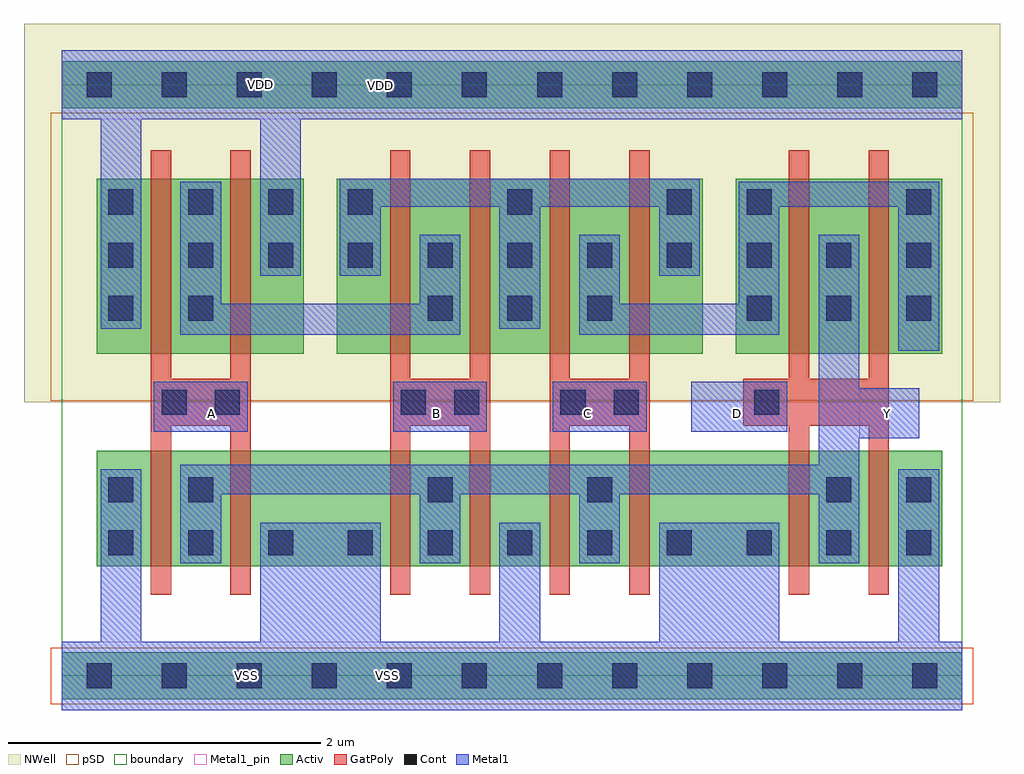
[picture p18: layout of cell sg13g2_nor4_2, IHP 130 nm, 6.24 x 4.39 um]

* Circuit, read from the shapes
.subckt sg13g2_nor4_2 A B C D VDD VSS Y
XM1 Y A VSS VSS sg13_lv_nmos w=0.74u l=0.13u m=2
XM2 Y B VSS VSS sg13_lv_nmos w=0.74u l=0.13u m=2
XM3 Y C VSS VSS sg13_lv_nmos w=0.74u l=0.13u m=2
XM4 Y D VSS VSS sg13_lv_nmos w=0.74u l=0.13u m=2
XM5 n1 A VDD VDD sg13_lv_pmos w=1.12u l=0.13u m=2
XM6 n1 B n2 VDD sg13_lv_pmos w=1.12u l=0.13u m=2
XM7 n3 C n2 VDD sg13_lv_pmos w=1.12u l=0.13u m=2
XM8 Y D n3 VDD sg13_lv_pmos w=1.12u l=0.13u m=2
.ends

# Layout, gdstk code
import gdstk
lib = gdstk.Library(unit=1e-6, precision=1e-09)
def R(c, l, rs):  # rectangles x0, y0, x1, y1
    for r in rs: c.add(gdstk.rectangle(r[:2], r[2:], *l))
def P(c, l, *ps):  # polygons
    for p in ps: c.add(gdstk.Polygon(p, *l))
Activ = (1, 0)
GatPoly = (5, 0)
Cont = (6, 0)
Metal1 = (8, 0)
Metal1_pin = (8, 2)
pSD = (14, 0)
NWell = (31, 0)
boundary = (189, 4)

sg13g2_nor4_2 = lib.new_cell('sg13g2_nor4_2')
R(sg13g2_nor4_2, Activ, [(0,-0.15,5.76,0.15), (0,-0.15,5.76,0.15), (0.225,0.7,5.63,1.44), (0.225,0.7,5.63,1.44), (0.225,2.06,1.55,3.18), (0.225,2.06,1.55,3.18), (1.76,2.06,4.1,3.18), (1.76,2.06,4.1,3.18), (4.31,2.06,5.63,3.18), (4.31,2.06,5.63,3.18), (0,3.63,5.76,3.93), (0,3.63,5.76,3.93)])
P(sg13g2_nor4_2, GatPoly, [(0.57,0.52),(0.57,3.36),(0.7,3.36),(0.7,1.9),(1.08,1.9),(1.08,3.36),(1.21,3.36),(1.21,0.52),(1.08,0.52),(1.08,1.6),(0.7,1.6),(0.7,0.52)],
  [(2.1,0.52),(2.1,3.36),(2.23,3.36),(2.23,1.9),(2.61,1.9),(2.61,3.36),(2.74,3.36),(2.74,0.52),(2.61,0.52),(2.61,1.6),(2.23,1.6),(2.23,0.52)],
  [(3.12,0.52),(3.12,3.36),(3.25,3.36),(3.25,1.9),(3.63,1.9),(3.63,3.36),(3.76,3.36),(3.76,0.52),(3.63,0.52),(3.63,1.6),(3.25,1.6),(3.25,0.52)],
  [(4.65,0.52),(4.65,1.6),(4.36,1.6),(4.36,1.9),(4.65,1.9),(4.65,3.36),(4.78,3.36),(4.78,1.9),(5.16,1.9),(5.16,3.36),(5.29,3.36),(5.29,0.52),(5.16,0.52),(5.16,1.6),(4.78,1.6),(4.78,0.52)],
  [(0.57,0.52),(0.57,3.36),(0.7,3.36),(0.7,1.9),(1.08,1.9),(1.08,3.36),(1.21,3.36),(1.21,0.52),(1.08,0.52),(1.08,1.6),(0.7,1.6),(0.7,0.52)],
  [(2.1,0.52),(2.1,3.36),(2.23,3.36),(2.23,1.9),(2.61,1.9),(2.61,3.36),(2.74,3.36),(2.74,0.52),(2.61,0.52),(2.61,1.6),(2.23,1.6),(2.23,0.52)],
  [(3.12,0.52),(3.12,3.36),(3.25,3.36),(3.25,1.9),(3.63,1.9),(3.63,3.36),(3.76,3.36),(3.76,0.52),(3.63,0.52),(3.63,1.6),(3.25,1.6),(3.25,0.52)],
  [(4.65,0.52),(4.65,1.6),(4.36,1.6),(4.36,1.9),(4.65,1.9),(4.65,3.36),(4.78,3.36),(4.78,1.9),(5.16,1.9),(5.16,3.36),(5.29,3.36),(5.29,0.52),(5.16,0.52),(5.16,1.6),(4.78,1.6),(4.78,0.52)])
R(sg13g2_nor4_2, Cont, [(0.16,-0.08,0.32,0.08), (0.16,-0.08,0.32,0.08), (0.64,-0.08,0.8,0.08), (0.64,-0.08,0.8,0.08), (1.12,-0.08,1.28,0.08), (1.12,-0.08,1.28,0.08), (1.6,-0.08,1.76,0.08), (1.6,-0.08,1.76,0.08), (2.08,-0.08,2.24,0.08), (2.08,-0.08,2.24,0.08), (2.56,-0.08,2.72,0.08), (2.56,-0.08,2.72,0.08), (3.04,-0.08,3.2,0.08), (3.04,-0.08,3.2,0.08), (3.52,-0.08,3.68,0.08), (3.52,-0.08,3.68,0.08), (4,-0.08,4.16,0.08), (4,-0.08,4.16,0.08), (4.48,-0.08,4.64,0.08), (4.48,-0.08,4.64,0.08), (4.96,-0.08,5.12,0.08), (4.96,-0.08,5.12,0.08), (5.44,-0.08,5.6,0.08), (5.44,-0.08,5.6,0.08), (0.3,0.77,0.46,0.93), (0.3,0.77,0.46,0.93), (0.81,0.77,0.97,0.93), (0.81,0.77,0.97,0.93), (1.32,0.77,1.48,0.93), (1.32,0.77,1.48,0.93), (1.83,0.77,1.99,0.93), (1.83,0.77,1.99,0.93), (2.34,0.77,2.5,0.93), (2.34,0.77,2.5,0.93), (2.85,0.77,3.01,0.93), (2.85,0.77,3.01,0.93), (3.36,0.77,3.52,0.93), (3.36,0.77,3.52,0.93), (3.87,0.77,4.03,0.93), (3.87,0.77,4.03,0.93), (4.38,0.77,4.54,0.93), (4.38,0.77,4.54,0.93), (4.89,0.77,5.05,0.93), (4.89,0.77,5.05,0.93), (5.4,0.77,5.56,0.93), (5.4,0.77,5.56,0.93), (0.3,1.11,0.46,1.27), (0.3,1.11,0.46,1.27), (0.81,1.11,0.97,1.27), (0.81,1.11,0.97,1.27), (2.34,1.11,2.5,1.27), (2.34,1.11,2.5,1.27), (3.36,1.11,3.52,1.27), (3.36,1.11,3.52,1.27), (4.89,1.11,5.05,1.27), (4.89,1.11,5.05,1.27), (5.4,1.11,5.56,1.27), (5.4,1.11,5.56,1.27), (0.64,1.67,0.8,1.83), (0.64,1.67,0.8,1.83), (0.98,1.67,1.14,1.83), (0.98,1.67,1.14,1.83), (2.17,1.67,2.33,1.83), (2.17,1.67,2.33,1.83), (2.51,1.67,2.67,1.83), (2.51,1.67,2.67,1.83), (3.19,1.67,3.35,1.83), (3.19,1.67,3.35,1.83), (3.53,1.67,3.69,1.83), (3.53,1.67,3.69,1.83), (4.43,1.67,4.59,1.83), (4.43,1.67,4.59,1.83), (0.3,2.27,0.46,2.43), (0.3,2.27,0.46,2.43), (0.81,2.27,0.97,2.43), (0.81,2.27,0.97,2.43), (2.34,2.27,2.5,2.43), (2.34,2.27,2.5,2.43), (2.85,2.27,3.01,2.43), (2.85,2.27,3.01,2.43), (3.36,2.27,3.52,2.43), (3.36,2.27,3.52,2.43), (4.38,2.27,4.54,2.43), (4.38,2.27,4.54,2.43), (4.89,2.27,5.05,2.43), (4.89,2.27,5.05,2.43), (5.4,2.27,5.56,2.43), (5.4,2.27,5.56,2.43), (0.3,2.61,0.46,2.77), (0.3,2.61,0.46,2.77), (0.81,2.61,0.97,2.77), (0.81,2.61,0.97,2.77), (1.32,2.61,1.48,2.77), (1.32,2.61,1.48,2.77), (1.83,2.61,1.99,2.77), (1.83,2.61,1.99,2.77), (2.34,2.61,2.5,2.77), (2.34,2.61,2.5,2.77), (2.85,2.61,3.01,2.77), (2.85,2.61,3.01,2.77), (3.36,2.61,3.52,2.77), (3.36,2.61,3.52,2.77), (3.87,2.61,4.03,2.77), (3.87,2.61,4.03,2.77), (4.38,2.61,4.54,2.77), (4.38,2.61,4.54,2.77), (4.89,2.61,5.05,2.77), (4.89,2.61,5.05,2.77), (5.4,2.61,5.56,2.77), (5.4,2.61,5.56,2.77), (0.3,2.95,0.46,3.11), (0.3,2.95,0.46,3.11), (0.81,2.95,0.97,3.11), (0.81,2.95,0.97,3.11), (1.32,2.95,1.48,3.11), (1.32,2.95,1.48,3.11), (1.83,2.95,1.99,3.11), (1.83,2.95,1.99,3.11), (2.85,2.95,3.01,3.11), (2.85,2.95,3.01,3.11), (3.87,2.95,4.03,3.11), (3.87,2.95,4.03,3.11), (4.38,2.95,4.54,3.11), (4.38,2.95,4.54,3.11), (5.4,2.95,5.56,3.11), (5.4,2.95,5.56,3.11), (0.16,3.7,0.32,3.86), (0.16,3.7,0.32,3.86), (0.64,3.7,0.8,3.86), (0.64,3.7,0.8,3.86), (1.12,3.7,1.28,3.86), (1.12,3.7,1.28,3.86), (1.6,3.7,1.76,3.86), (1.6,3.7,1.76,3.86), (2.08,3.7,2.24,3.86), (2.08,3.7,2.24,3.86), (2.56,3.7,2.72,3.86), (2.56,3.7,2.72,3.86), (3.04,3.7,3.2,3.86), (3.04,3.7,3.2,3.86), (3.52,3.7,3.68,3.86), (3.52,3.7,3.68,3.86), (4,3.7,4.16,3.86), (4,3.7,4.16,3.86), (4.48,3.7,4.64,3.86), (4.48,3.7,4.64,3.86), (4.96,3.7,5.12,3.86), (4.96,3.7,5.12,3.86), (5.44,3.7,5.6,3.86), (5.44,3.7,5.6,3.86)])
R(sg13g2_nor4_2, Metal1, [(5.1,1.52,5.485,1.84), (5.1,1.52,5.485,1.84), (0.59,1.56,1.19,1.88), (0.59,1.56,1.19,1.88), (2.12,1.56,2.72,1.88), (2.12,1.56,2.72,1.88), (3.14,1.56,3.74,1.88), (3.14,1.56,3.74,1.88), (4.025,1.56,4.64,1.88), (4.025,1.56,4.64,1.88)])
P(sg13g2_nor4_2, Metal1, [(0.76,0.72),(0.76,1.35),(4.84,1.35),(4.84,2.82),(5.1,2.82),(5.1,0.72),(4.84,0.72),(4.84,1.16),(3.57,1.16),(3.57,0.72),(3.31,0.72),(3.31,1.16),(2.55,1.16),(2.55,0.72),(2.29,0.72),(2.29,1.16),(1.02,1.16),(1.02,0.72)],
  [(0.76,2.18),(0.76,3.16),(1.02,3.16),(1.02,2.38),(2.29,2.38),(2.29,2.82),(2.55,2.82),(2.55,2.18)],
  [(2.8,2.22),(2.8,3),(2.04,3),(2.04,2.56),(1.78,2.56),(1.78,3.18),(4.08,3.18),(4.08,2.56),(3.82,2.56),(3.82,3),(3.06,3),(3.06,2.22)],
  [(0,-0.22),(0,0.22),(0.25,0.22),(0.25,1.32),(0.51,1.32),(0.51,0.22),(1.27,0.22),(1.27,0.98),(2.04,0.98),(2.04,0.22),(2.8,0.22),(2.8,0.98),(3.06,0.98),(3.06,0.22),(3.82,0.22),(3.82,0.98),(4.59,0.98),(4.59,0.22),(5.35,0.22),(5.35,1.32),(5.61,1.32),(5.61,0.22),(5.76,0.22),(5.76,-0.22)],
  [(0.25,2.22),(0.25,3.56),(0,3.56),(0,4),(5.76,4),(5.76,3.56),(1.53,3.56),(1.53,2.56),(1.27,2.56),(1.27,3.56),(0.51,3.56),(0.51,2.22)],
  [(5.35,2.08),(5.35,3),(4.59,3),(4.59,2.18),(3.31,2.18),(3.31,2.82),(3.57,2.82),(3.57,2.38),(4.33,2.38),(4.33,3.16),(5.61,3.16),(5.61,2.08)],
  [(0.76,0.72),(0.76,1.35),(4.84,1.35),(4.84,2.82),(5.1,2.82),(5.1,0.72),(4.84,0.72),(4.84,1.16),(3.57,1.16),(3.57,0.72),(3.31,0.72),(3.31,1.16),(2.55,1.16),(2.55,0.72),(2.29,0.72),(2.29,1.16),(1.02,1.16),(1.02,0.72)],
  [(0.76,2.18),(0.76,3.16),(1.02,3.16),(1.02,2.38),(2.29,2.38),(2.29,2.82),(2.55,2.82),(2.55,2.18)],
  [(2.8,2.22),(2.8,3),(2.04,3),(2.04,2.56),(1.78,2.56),(1.78,3.18),(4.08,3.18),(4.08,2.56),(3.82,2.56),(3.82,3),(3.06,3),(3.06,2.22)],
  [(0,-0.22),(0,0.22),(0.25,0.22),(0.25,1.32),(0.51,1.32),(0.51,0.22),(1.27,0.22),(1.27,0.98),(2.04,0.98),(2.04,0.22),(2.8,0.22),(2.8,0.98),(3.06,0.98),(3.06,0.22),(3.82,0.22),(3.82,0.98),(4.59,0.98),(4.59,0.22),(5.35,0.22),(5.35,1.32),(5.61,1.32),(5.61,0.22),(5.76,0.22),(5.76,-0.22)],
  [(0.25,2.22),(0.25,3.56),(0,3.56),(0,4),(5.76,4),(5.76,3.56),(1.53,3.56),(1.53,2.56),(1.27,2.56),(1.27,3.56),(0.51,3.56),(0.51,2.22)],
  [(5.35,2.08),(5.35,3),(4.59,3),(4.59,2.18),(3.31,2.18),(3.31,2.82),(3.57,2.82),(3.57,2.38),(4.33,2.38),(4.33,3.16),(5.61,3.16),(5.61,2.08)])
R(sg13g2_nor4_2, Metal1_pin, [(0,-0.22,5.76,0.22), (0,-0.22,5.76,0.22), (5.1,1.52,5.485,1.84), (5.1,1.52,5.485,1.84), (0.59,1.56,1.19,1.88), (0.59,1.56,1.19,1.88), (2.12,1.56,2.72,1.88), (2.12,1.56,2.72,1.88), (3.14,1.56,3.74,1.88), (3.14,1.56,3.74,1.88), (4.025,1.56,4.64,1.88), (4.025,1.56,4.64,1.88), (0,3.56,5.76,4), (0,3.56,5.76,4)])
R(sg13g2_nor4_2, pSD, [(-0.07,-0.18,5.83,0.18), (-0.07,-0.18,5.83,0.18), (-0.07,1.76,5.83,3.6), (-0.07,1.76,5.83,3.6)])
R(sg13g2_nor4_2, NWell, [(-0.24,1.75,6,4.17), (-0.24,1.75,6,4.17)])
R(sg13g2_nor4_2, boundary, [(0,0,5.76,3.78), (0,0,5.76,3.78)])
sg13g2_nor4_2.add(gdstk.Label('Y', (5.28,1.68), layer=8, texttype=25))
sg13g2_nor4_2.add(gdstk.Label('VSS', (1.18,0), layer=8, texttype=25))
sg13g2_nor4_2.add(gdstk.Label('D', (4.32,1.68), layer=8, texttype=25))
sg13g2_nor4_2.add(gdstk.Label('VDD', (2.04,3.775), layer=8, texttype=25))
sg13g2_nor4_2.add(gdstk.Label('B', (2.4,1.68), layer=8, texttype=25))
sg13g2_nor4_2.add(gdstk.Label('A', (0.96,1.68), layer=8, texttype=25))
sg13g2_nor4_2.add(gdstk.Label('VDD', (1.275,3.78), layer=8, texttype=25))
sg13g2_nor4_2.add(gdstk.Label('VSS', (2.085,0.005), layer=8, texttype=25))
sg13g2_nor4_2.add(gdstk.Label('C', (3.36,1.68), layer=8, texttype=25))
sg13g2_nor4_2.add(gdstk.Label('Y', (5.28,1.68), layer=8, texttype=25))
sg13g2_nor4_2.add(gdstk.Label('VSS', (1.18,0), layer=8, texttype=25))
sg13g2_nor4_2.add(gdstk.Label('D', (4.32,1.68), layer=8, texttype=25))
sg13g2_nor4_2.add(gdstk.Label('VDD', (2.04,3.775), layer=8, texttype=25))
sg13g2_nor4_2.add(gdstk.Label('B', (2.4,1.68), layer=8, texttype=25))
sg13g2_nor4_2.add(gdstk.Label('A', (0.96,1.68), layer=8, texttype=25))
sg13g2_nor4_2.add(gdstk.Label('VDD', (1.275,3.78), layer=8, texttype=25))
sg13g2_nor4_2.add(gdstk.Label('VSS', (2.085,0.005), layer=8, texttype=25))
sg13g2_nor4_2.add(gdstk.Label('C', (3.36,1.68), layer=8, texttype=25))

lib.write_gds('sg13g2_nor4_2.gds')
